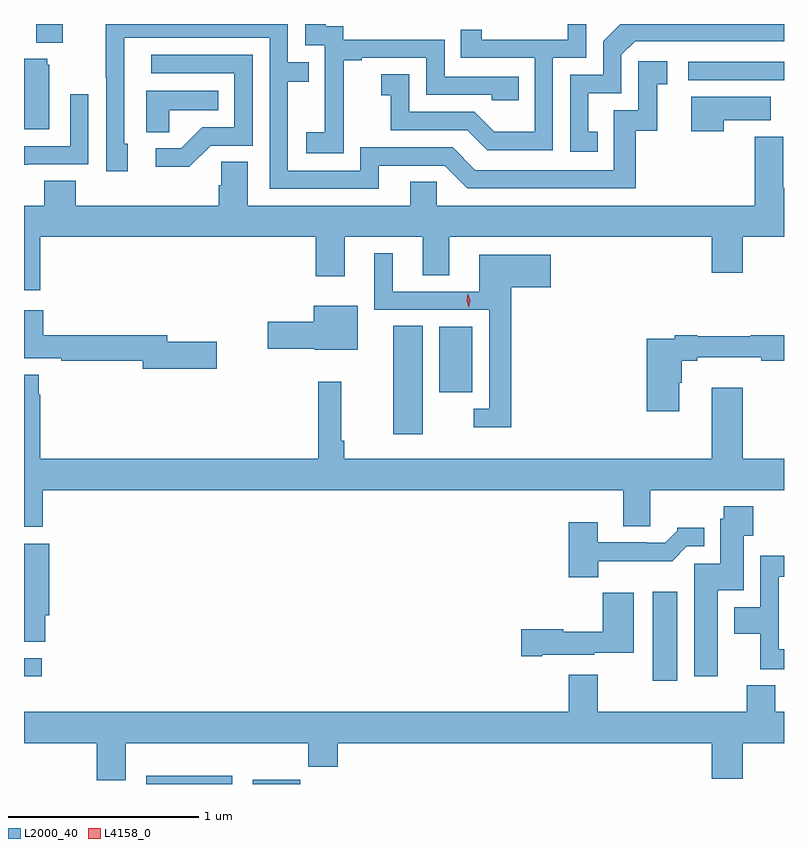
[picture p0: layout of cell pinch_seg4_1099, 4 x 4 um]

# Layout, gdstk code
import gdstk
lib = gdstk.Library(unit=1e-6, precision=1e-09)
def R(c, l, rs):  # rectangles x0, y0, x1, y1
    for r in rs: c.add(gdstk.rectangle(r[:2], r[2:], *l))
def P(c, l, *ps):  # polygons
    for p in ps: c.add(gdstk.Polygon(p, *l))
L2000_40 = (2000, 40)
L4158_0 = (4158, 0)

pinch_seg4_1099 = lib.new_cell('pinch_seg4_1099')
R(pinch_seg4_1099, L2000_40, [(425.768,800.601,426.22,800.644), (426.329,800.601,426.578,800.623), (428.432,801.144,428.563,801.613), (425.124,801.168,425.218,801.264), (427.067,802.443,427.222,803.012), (427.31,802.664,427.483,803.008), (428.619,804.306,429.124,804.402), (425.189,804.503,425.329,804.601)])
P(pinch_seg4_1099, L2000_40, [(428.144,804.033),(428.095,804.033),(428.095,804.237),(428.268,804.237),(428.268,804.438),(428.34,804.51),(429.124,804.51),(429.124,804.601),(428.263,804.601),(428.172,804.51),(428.172,804.333),(427.998,804.333),(427.998,803.928),(428.144,803.928)],
  [(426.807,804.127),(426.806,804.127),(426.806,804.411),(426.901,804.411),(426.901,804.423),(427.242,804.423),(427.242,804.228),(427.587,804.228),(427.587,804.201),(427.727,804.201),(427.727,804.324),(427.338,804.324),(427.338,804.519),(426.804,804.519),(426.804,804.588),(426.712,804.588),(426.712,804.601),(426.603,804.601),(426.603,804.489),(426.708,804.489),(426.708,804.26),(426.707,804.26),(426.707,804.031),(426.609,804.031),(426.609,803.921),(426.807,803.921)],
  [(426.991,803.856),(427.338,803.856),(427.458,803.736),(428.345,803.736),(428.345,804.039),(428.456,804.039),(428.456,804.285),(428.509,804.285),(428.509,804.406),(428.358,804.406),(428.358,804.147),(428.229,804.147),(428.229,803.832),(427.5,803.832),(427.38,803.952),(426.894,803.952),(426.894,803.829),(426.513,803.829),(426.513,804.298),(426.623,804.298),(426.623,804.399),(426.513,804.399),(426.513,804.601),(425.554,804.601),(425.554,804.319),(425.556,804.319),(425.556,803.826),(425.671,803.826),(425.671,803.97),(425.652,803.97),(425.652,804.528),(426.417,804.528),(426.417,803.733),(426.991,803.733)],
  [(427.908,804.423),(428.082,804.423),(428.082,804.601),(427.985,804.601),(427.985,804.519),(427.534,804.519),(427.534,804.571),(427.423,804.571),(427.423,804.423),(427.812,804.423),(427.812,804.034),(427.598,804.034),(427.494,804.138),(427.152,804.138),(427.152,804.337),(427.005,804.337),(427.005,804.227),(427.054,804.227),(427.054,804.042),(427.457,804.042),(427.562,803.937),(427.908,803.937)],
  [(426.108,803.961),(426.327,803.961),(426.327,804.438),(425.793,804.438),(425.793,804.342),(426.231,804.342),(426.231,804.057),(426.062,804.057),(425.951,803.946),(425.817,803.946),(425.817,803.849),(425.995,803.849)],
  [(425.257,804.387),(425.246,804.387),(425.246,804.418),(425.124,804.418),(425.124,804.047),(425.257,804.047)],
  [(425.889,804.146),(426.146,804.146),(426.146,804.25),(425.768,804.25),(425.768,804.031),(425.889,804.031)],
  [(425.147,803.862),(425.463,803.862),(425.463,804.232),(425.367,804.232),(425.367,803.958),(425.124,803.958),(425.124,803.861),(425.147,803.861)],
  [(428.807,804.095),(429.055,804.095),(429.055,804.217),(428.636,804.217),(428.636,804.036),(428.807,804.036)],
  [(425.209,803.48),(426.659,803.48),(426.659,803.274),(426.811,803.274),(426.811,803.48),(427.223,803.48),(427.223,803.278),(427.363,803.278),(427.363,803.48),(428.744,803.48),(428.744,803.292),(428.908,803.292),(428.908,803.48),(429.124,803.48),(429.124,803.74),(429.121,803.74),(429.121,804.007),(428.969,804.007),(428.969,803.644),(427.296,803.644),(427.296,803.771),(427.157,803.771),(427.157,803.644),(426.301,803.644),(426.301,803.876),(426.162,803.876),(426.162,803.753),(426.149,803.753),(426.149,803.644),(425.396,803.644),(425.396,803.777),(425.231,803.777),(425.231,803.644),(425.124,803.644),(425.124,803.199),(425.209,803.199)],
  [(427.688,803.216),(427.897,803.216),(427.897,803.386),(427.52,803.386),(427.52,803.193),(427.066,803.193),(427.066,803.395),(426.968,803.395),(426.968,803.097),(427.572,803.097),(427.572,802.575),(427.491,802.575),(427.491,802.478),(427.688,802.478)],
  [(426.88,803.119),(426.65,803.119),(426.65,803.034),(426.408,803.034),(426.408,802.892),(426.654,802.892),(426.654,802.886),(426.88,802.886)],
  [(426.139,802.928),(425.878,802.928),(425.878,802.964),(425.224,802.964),(425.224,803.095),(425.124,803.095),(425.124,802.841),(425.32,802.841),(425.32,802.828),(425.75,802.828),(425.75,802.786),(426.139,802.786)],
  [(428.572,802.713),(428.585,802.713),(428.585,802.828),(428.668,802.828),(428.668,802.847),(429.004,802.847),(429.004,802.828),(429.124,802.828),(429.124,802.964),(428.948,802.964),(428.948,802.957),(428.668,802.957),(428.668,802.964),(428.548,802.964),(428.548,802.944),(428.402,802.944),(428.402,802.563),(428.572,802.563)],
  [(425.222,802.148),(428.279,802.148),(428.279,801.958),(428.419,801.958),(428.419,802.148),(429.124,802.148),(429.124,802.312),(428.908,802.312),(428.908,802.687),(428.744,802.687),(428.744,802.312),(426.809,802.312),(426.809,802.408),(426.794,802.408),(426.794,802.717),(426.673,802.717),(426.673,802.312),(425.209,802.312),(425.209,802.649),(425.202,802.649),(425.202,802.756),(425.124,802.756),(425.124,801.954),(425.222,801.954)],
  [(428.776,801.62),(428.911,801.62),(428.911,801.907),(428.963,801.907),(428.963,802.063),(428.806,802.063),(428.806,801.996),(428.789,801.996),(428.789,801.759),(428.651,801.759),(428.651,801.168),(428.776,801.168)],
  [(428.146,801.774),(428.535,801.774),(428.613,801.852),(428.704,801.852),(428.704,801.949),(428.562,801.949),(428.562,801.934),(428.498,801.87),(428.399,801.87),(428.399,801.873),(428.143,801.873),(428.143,801.979),(427.991,801.979),(427.991,801.689),(428.146,801.689)],
  [(425.237,801.489),(425.258,801.489),(425.258,801.865),(425.124,801.865),(425.124,801.349),(425.237,801.349)],
  [(429.124,801.31),(429.096,801.31),(429.096,801.693),(429.124,801.693),(429.124,801.802),(429,801.802),(429,801.532),(428.861,801.532),(428.861,801.392),(428.998,801.392),(428.998,801.206),(429.124,801.206)],
  [(427.852,801.281),(428.124,801.281),(428.124,801.293),(428.332,801.293),(428.332,801.607),(428.17,801.607),(428.17,801.403),(427.962,801.403),(427.962,801.416),(427.74,801.416),(427.74,801.274),(427.852,801.274)],
  [(425.659,800.816),(426.619,800.816),(426.619,800.692),(426.776,800.692),(426.776,800.816),(428.744,800.816),(428.744,800.628),(428.908,800.628),(428.908,800.816),(429.124,800.816),(429.124,800.98),(429.079,800.98),(429.079,801.121),(428.927,801.121),(428.927,800.98),(428.143,800.98),(428.143,801.175),(427.991,801.175),(427.991,800.98),(425.124,800.98),(425.124,800.816),(425.507,800.816),(425.507,800.622),(425.659,800.622)])
P(pinch_seg4_1099, L4158_0, [(427.465,803.11),(427.465,803.11),(427.453,803.145),(427.46,803.182),(427.46,803.182),(427.46,803.182),(427.473,803.146),(427.465,803.11)])

lib.write_gds('pinch_seg4_1099.gds')
